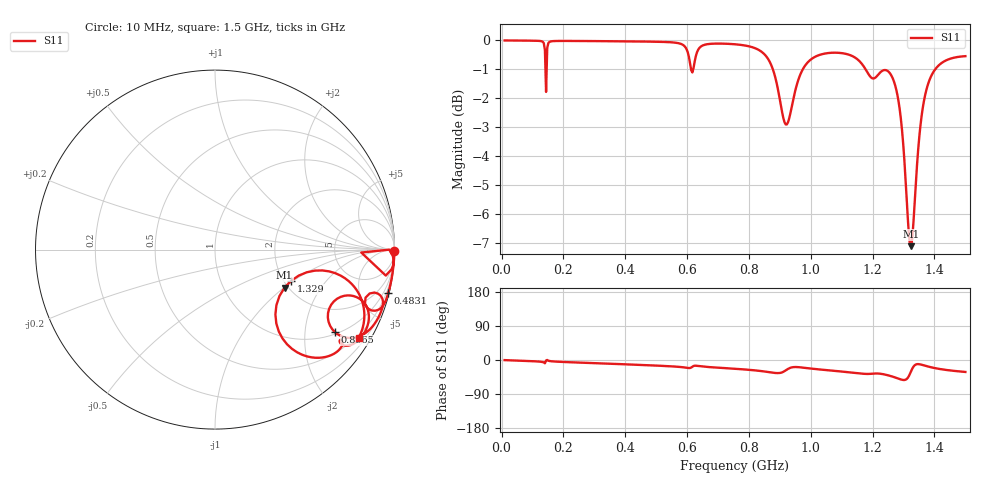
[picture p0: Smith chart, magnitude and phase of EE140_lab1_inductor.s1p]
! Touchstone file exported from HFSS 2026.1.0
!  File:  C:/Users/017978376/Downloads/EE140L-main/EE140L-main/lab1b_inductor/EE140_lab1b_inductor.aedt
!  Generated:  06:33:45 PM Sep 25, 2026
!  Design:  HFSSDesign1
!  Project:  EE140_lab1b_inductor
!  Setup:  Setup1
!  Solution:  Sweep
! Variables:
!  er = 4.4
!  h = 1.6mm
!  t = 0.035mm
!  w = 3mm
# GHz S MA R 50.000000
! Terminal data exported
! Port[1] = 1
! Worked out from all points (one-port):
!   401 points, 10 MHz to 1.5 GHz, reference 50 ohm
!   lowest |S11| = -7.1 dB at 1.325 GHz (marker M1), VSWR 2.58, Z = 95.8 - j50.4 ohm
!   |S11| at or under -10 dB: nowhere
!   S11 on the Smith chart (normalised r, x): 10 MHz: open; 483.1 MHz: 0.16, -8.08; 896.5 MHz: 1.07, -2.86; 1.329 GHz: 2.18, -0.96; 1.5 GHz: 0.42, -3.49
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0.01  0.9999 -0.3
! Gamma 0 0
! Port Impedance 50 0
0.132925  0.9951 -5.4
0.1441  0.8151 -1.2
0.19625  0.9981 -5.1
0.3825  0.9966 -10.8
0.483075  0.9952 -14.1
0.56875  0.9899 -17.8
0.61345  0.8884 -19.9
0.624625  0.9197 -15.1
0.646975  0.9779 -17.0
0.755  0.9849 -23.1
0.8444  0.9527 -29.7
0.89655  0.8095 -34.5
0.915175  0.7224 -29.4
0.94125  0.7811 -19.1
0.997125  0.9242 -22.3
1.1275  0.9432 -32.7
1.190825  0.8683 -36.7
1.23925  0.8891 -38.3
1.2765  0.8223 -47.1
1.295125  0.6999 -52.2
1.31375  0.4938 -47.0
1.324925  0.4417 -28.7
1.32865  0.4584 -22.2
1.347275  0.6476 -10.8
1.3808  0.8456 -17.5
1.429225  0.9188 -25.3
1.5  0.9395 -31.6
